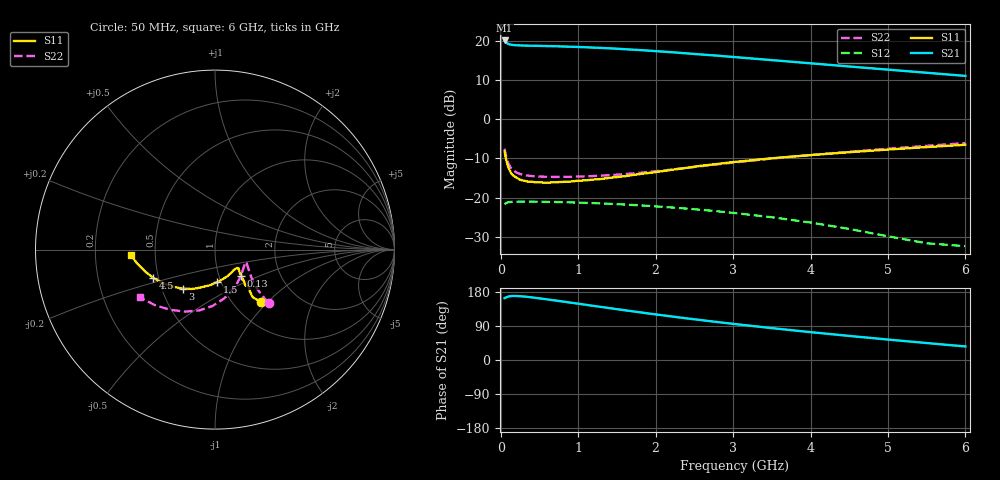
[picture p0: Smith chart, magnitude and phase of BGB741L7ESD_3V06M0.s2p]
! (c) 2009  Infineon Technologies AG, Munich
!  Infineon Technologies AG
!  BGB741L7ESD
!  Vce = 3.0V, Ic = 6.0mA
!  DATUM: 30.06.2009 09:59:59
# GHz  S  MA  R  50
!f  S11  S21  S12  S22
!GHz  Mag  Ang  Mag  Ang  Mag  Ang  Mag  Ang
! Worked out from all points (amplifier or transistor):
!   44 points, 50 MHz to 6 GHz, reference 50 ohm
!   highest |S21| = 20.0 dB at 50 MHz (marker M1)
!   |S21| within 3 dB of that: start of sweep to 2.211 GHz
!   unconditionally stable (mu >= 1): 192 MHz to end of sweep
!   at 120 MHz: K = 0.97, MSG = 20.1 dB, |S12| = -21.1 dB
!   at 1 GHz: K = 1.03, MAG = 18.7 dB, |S12| = -21.3 dB
!   at 6 GHz: K = 3.25, MAG = 13.7 dB, |S12| = -32.4 dB
!   lowest NFmin = 1.02 dB at 450 MHz
!   S11 on the Smith chart (normalised r, x): 50 MHz: 1.33, -0.91; 130 MHz: 1.27, -0.39; 1.5 GHz: 0.96, -0.36; 3 GHz: 0.64, -0.30; 4.5 GHz: 0.47, -0.17; 6 GHz: 0.36, -0.03
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0.05  0.3872 -48.7  10.04 163.3  0.08183 22.6  0.4202 -44.8
0.07  0.3033 -50.2  9.426 165.3  0.08516 16.2  0.3354 -43.5
0.08  0.2799 -47.8  9.24 166.2  0.08632 14.1  0.3091 -42.2
0.09  0.2606 -49.8  9.172 167.0  0.08678 12.5  0.2877 -40.8
0.1  0.2393 -47.6  9.022 167.4  0.08731 11.0  0.2717 -39.2
0.13  0.2082 -45.5  8.886 168.6  0.08812 8.0  0.2406 -35.2
0.15  0.195 -44.1  8.802 168.9  0.08839 6.6  0.228 -32.8
0.2  0.18 -41.3  8.729 168.9  0.08868 4.1  0.2092 -28.5
0.35  0.16 -39.5  8.619 166.5  0.08888 -0.1  0.1905 -22.7
0.7  0.1568 -52.1  8.475 157.1  0.08796 -5.5  0.1834 -23.1
1.1  0.1659 -70.3  8.225 145.7  0.08576 -10.2  0.1864 -29.6
1.5  0.1826 -86.5  7.88 134.1  0.08258 -14.4  0.1959 -38.9
1.9  0.2055 -101.2  7.46 122.9  0.07854 -18.2  0.2118 -49.6
2.2  0.2251 -110.5  7.12 115.1  0.07493 -20.8  0.227 -58.3
2.6  0.255 -120.6  6.64 105.0  0.06973 -23.9  0.252 -69.5
3  0.2832 -129.7  6.187 95.4  0.06398 -26.5  0.279 -80.3
3.5  0.3166 -139.5  5.64 84.1  0.05623 -28.8  0.3148 -92.7
4  0.348 -147.8  5.137 73.5  0.04812 -29.8  0.3491 -104.2
4.5  0.3786 -155.5  4.678 63.6  0.0399 -28.3  0.3835 -115.7
5  0.4093 -162.8  4.266 53.9  0.03216 -22.7  0.4196 -127.0
5.5  0.4401 -169.8  3.892 44.8  0.02619 -10.4  0.4567 -137.5
6  0.471 -176.4  3.548 35.7  0.02407 9.2  0.4951 -147.5
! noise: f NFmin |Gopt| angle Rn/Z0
0.45  1.02  0.04  44  0.14
0.9  1.03  0.07  73  0.16
1.8  1.06  0.09  84  0.2
2.4  1.11  0.11  92  0.26
3  1.18  0.14  132  0.22
5.5  1.82  0.18  160  0.17
